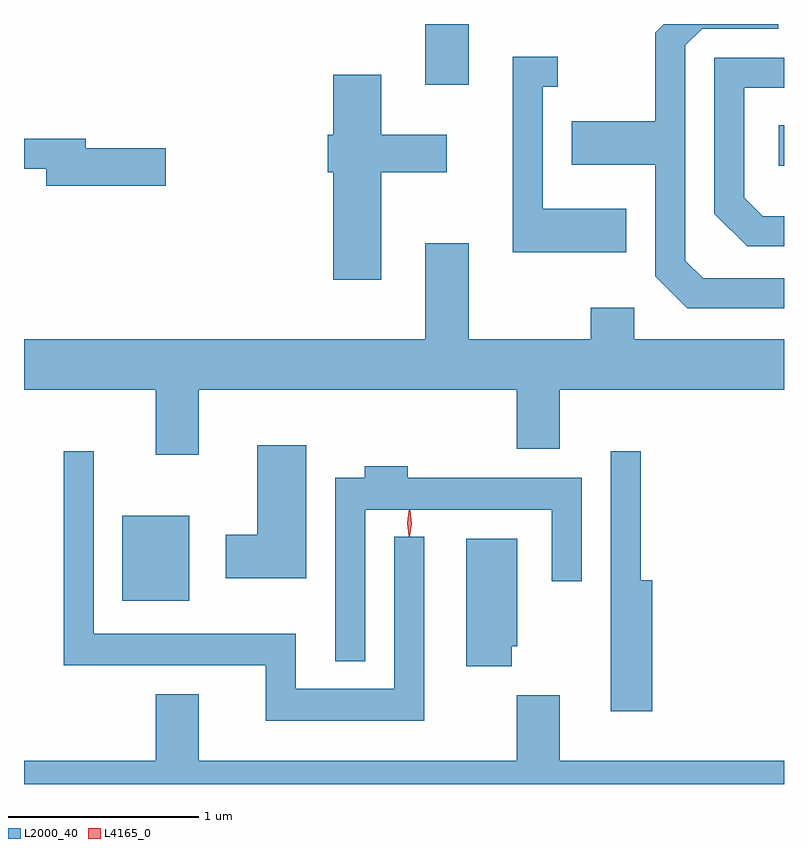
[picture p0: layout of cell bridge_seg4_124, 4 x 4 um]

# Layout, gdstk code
import gdstk
lib = gdstk.Library(unit=1e-6, precision=1e-09)
def R(c, l, rs):  # rectangles x0, y0, x1, y1
    for r in rs: c.add(gdstk.rectangle(r[:2], r[2:], *l))
def P(c, l, *ps):  # polygons
    for p in ps: c.add(gdstk.Polygon(p, *l))
L2000_40 = (2000, 40)
L4165_0 = (4165, 0)

bridge_seg4_124 = lib.new_cell('bridge_seg4_124')
R(bridge_seg4_124, L2000_40, [(867.976,1315.826,868.329,1316.274), (871.431,1318.116,871.458,1318.329), (869.571,1318.541,869.799,1318.862)])
P(bridge_seg4_124, L2000_40, [(871.458,1317.524),(871.032,1317.524),(870.939,1317.617),(870.939,1318.749),(871.027,1318.836),(871.428,1318.836),(871.428,1318.862),(870.826,1318.862),(870.781,1318.817),(870.781,1318.349),(870.341,1318.349),(870.341,1318.121),(870.781,1318.121),(870.781,1317.534),(870.949,1317.366),(871.458,1317.366)],
  [(870.629,1317.889),(870.189,1317.889),(870.189,1318.531),(870.268,1318.531),(870.268,1318.689),(870.031,1318.689),(870.031,1317.661),(870.629,1317.661)],
  [(871.458,1317.849),(871.347,1317.849),(871.249,1317.947),(871.249,1318.526),(871.458,1318.526),(871.458,1318.684),(871.091,1318.684),(871.091,1317.864),(871.264,1317.691),(871.458,1317.691)],
  [(869.339,1318.081),(869.684,1318.081),(869.684,1318.279),(869.339,1318.279),(869.339,1318.594),(869.086,1318.594),(869.086,1318.279),(869.056,1318.279),(869.056,1318.081),(869.086,1318.081),(869.086,1317.516),(869.339,1317.516)],
  [(868.204,1318.209),(867.784,1318.209),(867.784,1318.259),(867.458,1318.259),(867.458,1318.101),(867.576,1318.101),(867.576,1318.011),(868.204,1318.011)],
  [(868.379,1316.936),(870.051,1316.936),(870.051,1316.626),(870.279,1316.626),(870.279,1316.936),(871.458,1316.936),(871.458,1317.204),(870.669,1317.204),(870.669,1317.369),(870.441,1317.369),(870.441,1317.204),(869.799,1317.204),(869.799,1317.709),(869.571,1317.709),(869.571,1317.204),(867.458,1317.204),(867.458,1316.936),(868.151,1316.936),(868.151,1316.596),(868.379,1316.596)],
  [(868.944,1316.644),(868.686,1316.644),(868.686,1316.174),(868.521,1316.174),(868.521,1315.946),(868.944,1315.946)],
  [(870.764,1315.934),(870.704,1315.934),(870.704,1316.613),(870.546,1316.613),(870.546,1315.246),(870.764,1315.246)],
  [(869.564,1316.163),(869.406,1316.163),(869.406,1315.364),(868.889,1315.364),(868.889,1315.654),(867.824,1315.654),(867.824,1316.613),(867.666,1316.613),(867.666,1315.486),(868.731,1315.486),(868.731,1315.196),(869.564,1315.196)],
  [(869.254,1316.306),(870.236,1316.306),(870.236,1315.928),(870.394,1315.928),(870.394,1316.474),(869.479,1316.474),(869.479,1316.534),(869.251,1316.534),(869.251,1316.474),(869.096,1316.474),(869.096,1315.508),(869.254,1315.508)],
  [(870.024,1315.586),(870.054,1315.586),(870.054,1316.154),(869.786,1316.154),(869.786,1315.481),(870.024,1315.481)],
  [(871.458,1314.984),(870.279,1314.984),(870.279,1315.329),(870.051,1315.329),(870.051,1314.984),(868.379,1314.984),(868.379,1315.334),(868.151,1315.334),(868.151,1314.984),(867.458,1314.984),(867.458,1314.862),(871.458,1314.862)])
P(bridge_seg4_124, L4165_0, [(869.488,1316.164),(869.479,1316.233),(869.489,1316.302),(869.49,1316.303),(869.49,1316.302),(869.499,1316.233),(869.489,1316.164),(869.489,1316.164)],
  [(869.484,1316.167),(869.484,1316.167),(869.474,1316.234),(869.484,1316.3),(869.484,1316.301),(869.485,1316.3),(869.494,1316.234),(869.485,1316.167)])

lib.write_gds('bridge_seg4_124.gds')
